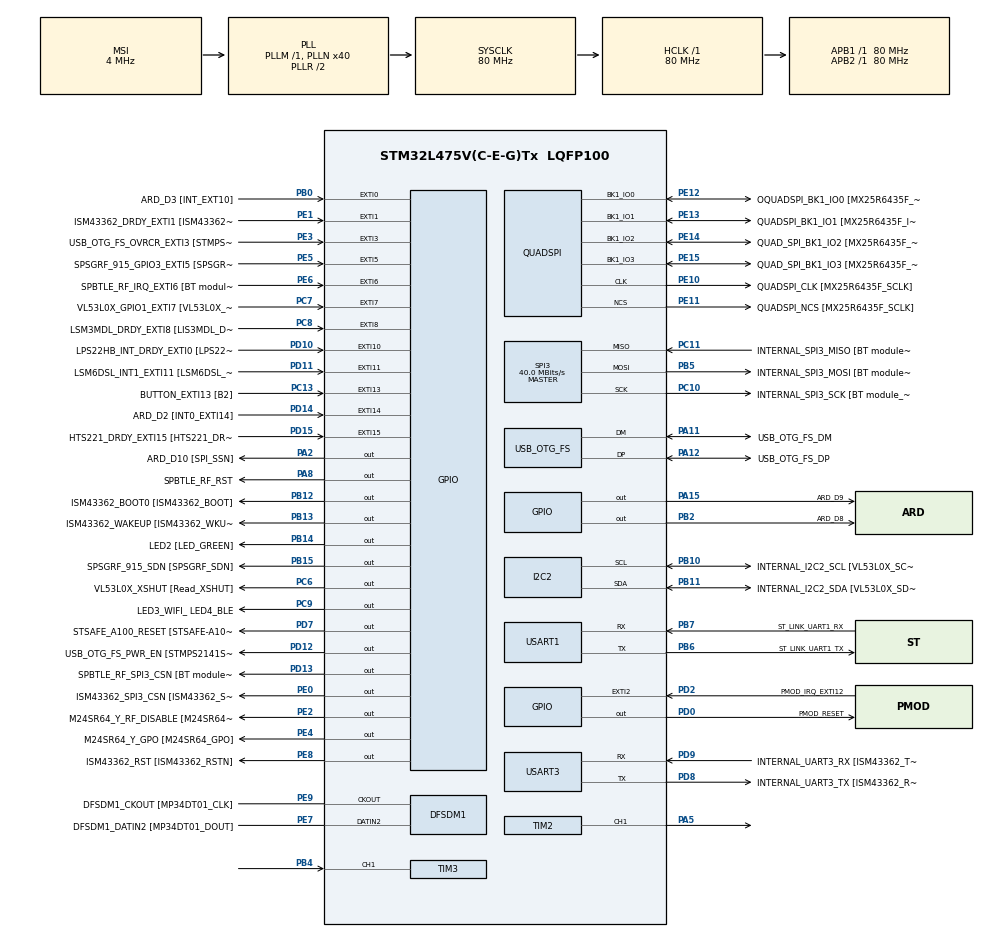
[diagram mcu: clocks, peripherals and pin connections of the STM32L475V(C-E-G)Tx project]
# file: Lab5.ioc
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I2C2.Timing=0x10D19CE4
Mcu.Family=STM32L4
Mcu.Name=STM32L475V(C-E-G)Tx
Mcu.Package=LQFP100
NVIC.EXTI15_10_IRQn=true\:0\:0\:false\:false\:true\:true\:true\:true
NVIC.EXTI9_5_IRQn=true\:0\:0\:false\:false\:true\:true\:true\:true
NVIC.PriorityGroup=NVIC_PRIORITYGROUP_4
NVIC.TIM3_IRQn=true\:0\:0\:false\:false\:true\:true\:true\:true
PA0.GPIO_Label=ARD_D1 [UART4_TX]
PA0.Signal=UART4_TX
PA1.Signal=S_TIM2_CH2
PA10.GPIO_Label=USB_OTG_FS_ID
PA10.Signal=USB_OTG_FS_ID
PA11.GPIO_Label=USB_OTG_FS_DM
PA11.Mode=Device_Only
PA11.Signal=USB_OTG_FS_DM
PA12.GPIO_Label=USB_OTG_FS_DP
PA12.Mode=Device_Only
PA12.Signal=USB_OTG_FS_DP
PA13\ (JTMS-SWDIO).GPIO_Label=SYS_JTMS_SWDIO
PA13\ (JTMS-SWDIO).Mode=Serial_Wire
PA13\ (JTMS-SWDIO).Signal=SYS_JTMS-SWDIO
PA14\ (JTCK-SWCLK).GPIO_Label=SYS_JTCK_SWCLK
PA14\ (JTCK-SWCLK).Mode=Serial_Wire
PA14\ (JTCK-SWCLK).Signal=SYS_JTCK-SWCLK
PA15\ (JTDI).GPIO_Label=ARD_D9
PA15\ (JTDI).Signal=GPIO_Output
PA2.GPIO_Label=ARD_D10 [SPI_SSN]
PA2.Signal=GPIO_Output
PA3.GPIO_Label=ARD_D4
PA3.Signal=S_TIM2_CH4
PA4.GPIO_Label=ARD_D7
PA4.Signal=ADCx_IN9
PA5.Signal=S_TIM2_CH1
PA6.GPIO_Label=ARD_D12 [SPI1_MISO]
PA6.Signal=SPI1_MISO
PA7.GPIO_Label=ARD_D11 [SPI1_MOSI]
PA7.Signal=SPI1_MOSI
PA8.GPIO_Label=SPBTLE_RF_RST
PA8.Signal=GPIO_Output
PA9.GPIO_Label=USB_OTG_FS_VBUS [STMPS2141STR_OUT]
PA9.Signal=USB_OTG_FS_VBUS
PB0.GPIO_Label=ARD_D3 [INT_EXT10]
PB0.Signal=GPXTI0
PB1.GPIO_Label=ARD_D6 [ADC1_IN6]
PB1.Signal=ADCx_IN16
PB10.GPIO_Label=INTERNAL_I2C2_SCL [VL53L0X_SCL]
PB10.GPIO_Pu=GPIO_PULLUP
PB10.Mode=I2C
PB10.Signal=I2C2_SCL
PB11.GPIO_Label=INTERNAL_I2C2_SDA [VL53L0X_SDA]
PB11.GPIO_Pu=GPIO_PULLUP
PB11.Mode=I2C
PB11.Signal=I2C2_SDA
PB12.GPIO_Label=ISM43362_BOOT0 [ISM43362_BOOT]
PB12.Signal=GPIO_Output
PB13.GPIO_Label=ISM43362_WAKEUP [ISM43362_WKUP]
PB13.Signal=GPIO_Output
PB14.GPIO_Label=LED2 [LED_GREEN]
PB14.Signal=GPIO_Output
PB15.GPIO_Label=SPSGRF_915_SDN [SPSGRF_SDN]
PB15.Signal=GPIO_Output
PB2.GPIO_Label=ARD_D8
PB2.Signal=GPIO_Output
PB3\ (JTDO-TRACESWO).GPIO_Label=SYS_JTD0_SWO
PB3\ (JTDO-TRACESWO).Signal=SYS_JTDO-SWO
PB4\ (NJTRST).Signal=S_TIM3_CH1
PB5.GPIO_Label=INTERNAL_SPI3_MOSI [BT module_SPI_MOSI] [ISM43362_MOSI]
PB5.Mode=Full_Duplex_Master
PB5.Signal=SPI3_MOSI
PB6.GPIO_Label=ST_LINK_UART1_TX
PB6.Mode=Asynchronous
PB6.Signal=USART1_TX
PB7.GPIO_Label=ST_LINK_UART1_RX
PB7.Mode=Asynchronous
PB7.Signal=USART1_RX
PB8.GPIO_Label=ARD_D15 [I2C1_SCL]
PB8.Signal=I2C1_SCL
PB9.GPIO_Label=ARD_D14 [I2C1_SDA]
PB9.Signal=I2C1_SDA
PC0.GPIO_Label=ARD_A5 [ADC]
PC0.Signal=ADCx_IN1
PC1.GPIO_Label=ARD_A4 [ADC]
PC1.Signal=ADCx_IN2
PC10.GPIO_Label=INTERNAL_SPI3_SCK [BT module_SPI_SCLK] [ISM43362_SCK]
PC10.Mode=Full_Duplex_Master
PC10.Signal=SPI3_SCK
PC11.GPIO_Label=INTERNAL_SPI3_MISO [BT module_SPI_MISO] [ISM43362_MISO]
PC11.Mode=Full_Duplex_Master
PC11.Signal=SPI3_MISO
PC13.GPIO_Label=BUTTON_EXTI13 [B2]
PC13.GPIO_ModeDefaultEXTI=GPIO_MODE_IT_FALLING
PC13.Signal=GPXTI13
PC14-OSC32_IN\ (PC14).Mode=LSE-External-Oscillator
PC14-OSC32_IN\ (PC14).Signal=RCC_OSC32_IN
PC15-OSC32_OUT\ (PC15).Mode=LSE-External-Oscillator
PC15-OSC32_OUT\ (PC15).Signal=RCC_OSC32_OUT
PC2.GPIO_Label=ARD_A3 [ADC]
PC2.Signal=ADCx_IN3
PC3.GPIO_Label=ARD_A2 [ADC]
PC3.Signal=ADCx_IN4
PC4.GPIO_Label=ARD_A1 [ADC]
PC4.Signal=ADCx_IN13
PC5.GPIO_Label=ARD_A0 [ADC]
PC5.Signal=ADCx_IN14
PC6.GPIO_Label=VL53L0X_XSHUT [Read_XSHUT]
PC6.Signal=GPIO_Output
PC7.GPIO_Label=VL53L0X_GPIO1_EXTI7 [VL53L0X_GPIO1]
PC7.Signal=GPXTI7
PC8.GPIO_Label=LSM3MDL_DRDY_EXTI8 [LIS3MDL_DRDY]
PC8.Signal=GPXTI8
PC9.GPIO_Label=LED3_WIFI_ LED4_BLE
PC9.Signal=GPIO_Output
PD0.GPIO_Label=PMOD_RESET
PD0.Signal=GPIO_Output
PD1.GPIO_Label=PMOD_SPI2_SCK
PD1.Signal=SPI2_SCK
PD10.GPIO_Label=LPS22HB_INT_DRDY_EXTI0 [LPS22HB_INT_DRDY] 
PD10.Signal=GPXTI10
PD11.GPIO_Label=LSM6DSL_INT1_EXTI11 [LSM6DSL_INT1]
PD11.Signal=GPXTI11
PD12.GPIO_Label=USB_OTG_FS_PWR_EN [STMPS2141STR_EN]
PD12.Signal=GPIO_Output
PD13.GPIO_Label=SPBTLE_RF_SPI3_CSN [BT module_SPI_CS]
PD13.PinState=GPIO_PIN_SET
PD13.Signal=GPIO_Output
PD14.GPIO_Label=ARD_D2 [INT0_EXTI14]
PD14.Signal=GPXTI14
PD15.GPIO_Label=HTS221_DRDY_EXTI15 [HTS221_DRDY]
PD15.Signal=GPXTI15
PD2.GPIO_Label=PMOD_IRQ_EXTI12
PD2.Signal=GPXTI2
PD3.GPIO_Label=PMOD_UART2_CTS
PD3.Signal=USART2_CTS
PD4.GPIO_Label=PMOD_UART2_RTS
PD4.Signal=USART2_RTS
PD5.GPIO_Label=PMOD_UART2_TX
PD5.Signal=USART2_TX
PD6.GPIO_Label=PMOD_UART2_RX
PD6.Signal=USART2_RX
PD7.GPIO_Label=STSAFE_A100_RESET [STSAFE-A100_RESET]
PD7.Signal=GPIO_Output
PD8.GPIO_Label=INTERNAL_UART3_TX [ISM43362_RX]
PD8.Mode=Asynchronous
PD8.Signal=USART3_TX
PD9.GPIO_Label=INTERNAL_UART3_RX [ISM43362_TX]
PD9.Mode=Asynchronous
PD9.Signal=USART3_RX
PE0.GPIO_Label=ISM43362_SPI3_CSN [ISM43362_SSN]
PE0.PinState=GPIO_PIN_SET
PE0.Signal=GPIO_Output
PE1.GPIO_Label=ISM43362_DRDY_EXTI1 [ISM43362_DATARDY]
PE1.Signal=GPXTI1
PE10.GPIO_Label=QUADSPI_CLK [MX25R6435F_SCLK]
PE10.Mode=Single Bank
PE10.Signal=QUADSPI_CLK
PE11.GPIO_Label=QUADSPI_NCS [MX25R6435F_SCLK]
PE11.Mode=Single Bank
PE11.Signal=QUADSPI_NCS
PE12.GPIO_Label=OQUADSPI_BK1_IO0 [MX25R6435F_IO0]
PE12.Mode=Single Bank
PE12.Signal=QUADSPI_BK1_IO0
PE13.GPIO_Label=QUADSPI_BK1_IO1 [MX25R6435F_IO1]
PE13.Mode=Single Bank
PE13.Signal=QUADSPI_BK1_IO1
PE14.GPIO_Label=QUAD_SPI_BK1_IO2 [MX25R6435F_IO2]
PE14.Mode=Single Bank
PE14.Signal=QUADSPI_BK1_IO2
PE15.GPIO_Label=QUAD_SPI_BK1_IO3 [MX25R6435F_IO3]
PE15.Mode=Single Bank
PE15.Signal=QUADSPI_BK1_IO3
PE2.GPIO_Label=M24SR64_Y_RF_DISABLE [M24SR64_RFDIS]
PE2.Signal=GPIO_Output
PE3.GPIO_Label=USB_OTG_FS_OVRCR_EXTI3 [STMPS2141STR_FAULT]
PE3.Signal=GPXTI3
PE4.GPIO_Label=M24SR64_Y_GPO [M24SR64_GPO]
PE4.Signal=GPIO_Output
PE5.GPIO_Label=SPSGRF_915_GPIO3_EXTI5 [SPSGRF_GPIO_3]
PE5.Signal=GPXTI5
PE6.GPIO_Label=SPBTLE_RF_IRQ_EXTI6 [BT module_SPI_IRQ]
PE6.Signal=GPXTI6
PE7.GPIO_Label=DFSDM1_DATIN2 [MP34DT01_DOUT]
PE7.Signal=S_DATAIN2DFSDM1
PE8.GPIO_Label=ISM43362_RST [ISM43362_RSTN]
PE8.Signal=GPIO_Output
PE9.GPIO_Label=DFSDM1_CKOUT [MP34DT01_CLK]
PE9.Signal=S_CKOUTDFSDM1
ProjectManager.HeapSize=0x200
ProjectManager.StackSize=0x400
ProjectManager.TargetToolchain=CMake
QUADSPI.ClockPrescaler=2
QUADSPI.FifoThreshold=4
QUADSPI.FlashSize=23
QUADSPI.SampleShifting=QSPI_SAMPLE_SHIFTING_HALFCYCLE
RCC.ADCFreq_Value=48000000
RCC.AHBFreq_Value=80000000
RCC.APB1Freq_Value=80000000
RCC.APB1TimFreq_Value=80000000
RCC.APB2Freq_Value=80000000
RCC.APB2TimFreq_Value=80000000
RCC.CortexFreq_Value=80000000
RCC.HCLKFreq_Value=80000000
RCC.HSE_VALUE=8000000
RCC.HSI_VALUE=16000000
RCC.MSI_VALUE=4000000
RCC.PLLN=40
RCC.PLLSAI1N=24
RCC.SYSCLKFreq_VALUE=80000000
RCC.SYSCLKSource=RCC_SYSCLKSOURCE_PLLCLK
RCC.USBFreq_Value=48000000
RCC.VCOOutputFreq_Value=160000000
SH.ADCx_IN1.0=ADC1_IN1
SH.ADCx_IN13.0=ADC1_IN13
SH.ADCx_IN14.0=ADC1_IN14
SH.ADCx_IN16.0=ADC1_IN16
SH.ADCx_IN2.0=ADC1_IN2
SH.ADCx_IN3.0=ADC1_IN3
SH.ADCx_IN4.0=ADC1_IN4
SH.ADCx_IN9.0=ADC1_IN9
SH.S_CKOUTDFSDM1.0=DFSDM1_CKOUT,CKOUT
SH.S_CKOUTDFSDM1.1=DFSDM1_CKOUT,PDM_SPI_Input_from_ch12_and_Internal_Clock
SH.S_DATAIN2DFSDM1.0=DFSDM1_DATIN2,PDM_SPI_Input_from_ch12_and_Internal_Clock
SH.S_TIM2_CH1.0=TIM2_CH1,PWM Generation1 CH1
SH.S_TIM2_CH2.0=TIM2_CH2
SH.S_TIM2_CH4.0=TIM2_CH4
SH.S_TIM3_CH1.0=TIM3_CH1,Input_Capture1_from_TI1
SPI3.CalculateBaudRate=40.0 MBits/s
SPI3.Direction=SPI_DIRECTION_2LINES
SPI3.Mode=SPI_MODE_MASTER
SPI3.VirtualType=VM_MASTER
TIM2.Channel-PWM\ Generation1\ CH1=TIM_CHANNEL_1
TIM2.Period=999
TIM2.Prescaler=79
TIM2.Pulse-PWM\ Generation1\ CH1=500
TIM2.TIM_MasterSlaveMode=TIM_MASTERSLAVEMODE_DISABLE
TIM3.Channel-Input_Capture1_from_TI1=TIM_CHANNEL_1
TIM3.Channel-Input_Capture2_from_TI1_63=TIM_CHANNEL_2
TIM3.ICPolarity_CH2=TIM_INPUTCHANNELPOLARITY_FALLING
TIM3.Period=999
TIM3.Prescaler=79
USART1.VirtualMode-Asynchronous=VM_ASYNC
USART3.VirtualMode-Asynchronous=VM_ASYNC
USB_OTG_FS.VirtualMode=Device_Only
VP_TIM2_VS_ClockSourceINT.Mode=Internal
VP_TIM3_VS_ClockSourceINT.Mode=Internal
VP_TIM3_VS_indirect_ch1.Mode=Input_Capture2_from_TI1_63
board=B-L475E-IOT01A2

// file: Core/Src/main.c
/* USER CODE BEGIN Header */
/**
  ******************************************************************************
  * @file           : main.c
  * @brief          : Main program body
  ******************************************************************************
  * @attention
  *
  * Copyright (c) 2026 STMicroelectronics.
  * All rights reserved.
  *
  * This software is licensed under terms that can be found in the LICENSE file
  * in the root directory of this software component.
  * If no LICENSE file comes with this software, it is provided AS-IS.
  *
  ******************************************************************************
  */
/* USER CODE END Header */
#include "main.h"

/* USER CODE BEGIN Includes */
#include <stdio.h>

/* USER CODE END Includes */

DFSDM_Channel_HandleTypeDef hdfsdm1_channel1;

I2C_HandleTypeDef hi2c2;

QSPI_HandleTypeDef hqspi;

SPI_HandleTypeDef hspi3;

TIM_HandleTypeDef htim2;
TIM_HandleTypeDef htim3;

UART_HandleTypeDef huart1;
UART_HandleTypeDef huart3;

PCD_HandleTypeDef hpcd_USB_OTG_FS;

/* USER CODE BEGIN PV */
int __io_putchar(int ch)
{
    // &huart4 是根據你在 IOC 設定的 UART 編號，B-L475E 預設為 UART4
    HAL_UART_Transmit(&huart1, (uint8_t *)&ch, 1, HAL_MAX_DELAY);
    return ch;
}
volatile uint32_t raw_period = 0;
volatile uint32_t raw_duty = 0;
volatile uint8_t data_ready = 0;
/* USER CODE END PV */

void SystemClock_Config(void);
static void MX_GPIO_Init(void);
static void MX_DFSDM1_Init(void);
static void MX_I2C2_Init(void);
static void MX_QUADSPI_Init(void);
static void MX_SPI3_Init(void);
static void MX_USART1_UART_Init(void);
static void MX_USART3_UART_Init(void);
static void MX_USB_OTG_FS_PCD_Init(void);
static void MX_TIM2_Init(void);
static void MX_TIM3_Init(void);

int main(void)
{

  /* MCU Configuration--------------------------------------------------------*/

  /* Reset of all peripherals, Initializes the Flash interface and the Systick. */
  HAL_Init();

  /* Configure the system clock */
  SystemClock_Config();

  /* Initialize all configured peripherals */
  MX_GPIO_Init();
  MX_DFSDM1_Init();
  MX_I2C2_Init();
  MX_QUADSPI_Init();
  MX_SPI3_Init();
  MX_USART1_UART_Init();
  MX_USART3_UART_Init();
  MX_USB_OTG_FS_PCD_Init();
  MX_TIM2_Init();
  MX_TIM3_Init();
  /* USER CODE BEGIN 2 */
  HAL_TIM_PWM_Start(&htim2, TIM_CHANNEL_1);
  HAL_TIM_IC_Start_IT(&htim3, TIM_CHANNEL_1);
  HAL_TIM_IC_Start_IT(&htim3, TIM_CHANNEL_2);
  /* USER CODE END 2 */

  /* Infinite loop */
  while (1)
  {
    if (data_ready)
    {
        data_ready = 0; // 清除標記

        // 取得快照，避免計算中途被中斷打斷
        uint32_t p = raw_period;
        uint32_t d = raw_duty;

        if (p > 0)
        {
            // 假定 TIM3 PSC = 79, Timer Clock = 80MHz -> 計數頻率 = 1MHz
            uint32_t freq = 1000000 / p;

            printf("Period: %lu Hz, Duty: %lu\r\n", p, d);
        }
    }

    // 每一秒印一次就好，不會卡死系統
    HAL_Delay(1000);
  }
}

void SystemClock_Config(void)
{
  RCC_OscInitTypeDef RCC_OscInitStruct = {0};
  RCC_ClkInitTypeDef RCC_ClkInitStruct = {0};

  /** Configure the main internal regulator output voltage
  */
  if (HAL_PWREx_ControlVoltageScaling(PWR_REGULATOR_VOLTAGE_SCALE1) != HAL_OK)
  {
    Error_Handler();
  }

  /** Configure LSE Drive Capability
  */
  HAL_PWR_EnableBkUpAccess();
  __HAL_RCC_LSEDRIVE_CONFIG(RCC_LSEDRIVE_LOW);

  /** Initializes the RCC Oscillators according to the specified parameters
  * in the RCC_OscInitTypeDef structure.
  */
  RCC_OscInitStruct.OscillatorType = RCC_OSCILLATORTYPE_LSE|RCC_OSCILLATORTYPE_MSI;
  RCC_OscInitStruct.LSEState = RCC_LSE_ON;
  RCC_OscInitStruct.MSIState = RCC_MSI_ON;
  RCC_OscInitStruct.MSICalibrationValue = 0;
  RCC_OscInitStruct.MSIClockRange = RCC_MSIRANGE_6;
  RCC_OscInitStruct.PLL.PLLState = RCC_PLL_ON;
  RCC_OscInitStruct.PLL.PLLSource = RCC_PLLSOURCE_MSI;
  RCC_OscInitStruct.PLL.PLLM = 1;
  RCC_OscInitStruct.PLL.PLLN = 40;
  RCC_OscInitStruct.PLL.PLLP = RCC_PLLP_DIV7;
  RCC_OscInitStruct.PLL.PLLQ = RCC_PLLQ_DIV2;
  RCC_OscInitStruct.PLL.PLLR = RCC_PLLR_DIV2;
  if (HAL_RCC_OscConfig(&RCC_OscInitStruct) != HAL_OK)
  {
    Error_Handler();
  }

  /** Initializes the CPU, AHB and APB buses clocks
  */
  RCC_ClkInitStruct.ClockType = RCC_CLOCKTYPE_HCLK|RCC_CLOCKTYPE_SYSCLK
                              |RCC_CLOCKTYPE_PCLK1|RCC_CLOCKTYPE_PCLK2;
  RCC_ClkInitStruct.SYSCLKSource = RCC_SYSCLKSOURCE_PLLCLK;
  RCC_ClkInitStruct.AHBCLKDivider = RCC_SYSCLK_DIV1;
  RCC_ClkInitStruct.APB1CLKDivider = RCC_HCLK_DIV1;
  RCC_ClkInitStruct.APB2CLKDivider = RCC_HCLK_DIV1;

  if (HAL_RCC_ClockConfig(&RCC_ClkInitStruct, FLASH_LATENCY_4) != HAL_OK)
  {
    Error_Handler();
  }

  /** Enable MSI Auto calibration
  */
  HAL_RCCEx_EnableMSIPLLMode();
}

static void MX_DFSDM1_Init(void)
{

  hdfsdm1_channel1.Instance = DFSDM1_Channel1;
  hdfsdm1_channel1.Init.OutputClock.Activation = ENABLE;
  hdfsdm1_channel1.Init.OutputClock.Selection = DFSDM_CHANNEL_OUTPUT_CLOCK_SYSTEM;
  hdfsdm1_channel1.Init.OutputClock.Divider = 2;
  hdfsdm1_channel1.Init.Input.Multiplexer = DFSDM_CHANNEL_EXTERNAL_INPUTS;
  hdfsdm1_channel1.Init.Input.DataPacking = DFSDM_CHANNEL_STANDARD_MODE;
  hdfsdm1_channel1.Init.Input.Pins = DFSDM_CHANNEL_FOLLOWING_CHANNEL_PINS;
  hdfsdm1_channel1.Init.SerialInterface.Type = DFSDM_CHANNEL_SPI_RISING;
  hdfsdm1_channel1.Init.SerialInterface.SpiClock = DFSDM_CHANNEL_SPI_CLOCK_INTERNAL;
  hdfsdm1_channel1.Init.Awd.FilterOrder = DFSDM_CHANNEL_FASTSINC_ORDER;
  hdfsdm1_channel1.Init.Awd.Oversampling = 1;
  hdfsdm1_channel1.Init.Offset = 0;
  hdfsdm1_channel1.Init.RightBitShift = 0x00;
  if (HAL_DFSDM_ChannelInit(&hdfsdm1_channel1) != HAL_OK)
  {
    Error_Handler();
  }

}

static void MX_I2C2_Init(void)
{

  hi2c2.Instance = I2C2;
  hi2c2.Init.Timing = 0x10D19CE4;
  hi2c2.Init.OwnAddress1 = 0;
  hi2c2.Init.AddressingMode = I2C_ADDRESSINGMODE_7BIT;
  hi2c2.Init.DualAddressMode = I2C_DUALADDRESS_DISABLE;
  hi2c2.Init.OwnAddress2 = 0;
  hi2c2.Init.OwnAddress2Masks = I2C_OA2_NOMASK;
  hi2c2.Init.GeneralCallMode = I2C_GENERALCALL_DISABLE;
  hi2c2.Init.NoStretchMode = I2C_NOSTRETCH_DISABLE;
  if (HAL_I2C_Init(&hi2c2) != HAL_OK)
  {
    Error_Handler();
  }

  /** Configure Analogue filter
  */
  if (HAL_I2CEx_ConfigAnalogFilter(&hi2c2, I2C_ANALOGFILTER_ENABLE) != HAL_OK)
  {
    Error_Handler();
  }

  /** Configure Digital filter
  */
  if (HAL_I2CEx_ConfigDigitalFilter(&hi2c2, 0) != HAL_OK)
  {
    Error_Handler();
  }

}

static void MX_QUADSPI_Init(void)
{

  /* QUADSPI parameter configuration*/
  hqspi.Instance = QUADSPI;
  hqspi.Init.ClockPrescaler = 2;
  hqspi.Init.FifoThreshold = 4;
  hqspi.Init.SampleShifting = QSPI_SAMPLE_SHIFTING_HALFCYCLE;
  hqspi.Init.FlashSize = 23;
  hqspi.Init.ChipSelectHighTime = QSPI_CS_HIGH_TIME_1_CYCLE;
  hqspi.Init.ClockMode = QSPI_CLOCK_MODE_0;
  if (HAL_QSPI_Init(&hqspi) != HAL_OK)
  {
    Error_Handler();
  }

}

static void MX_SPI3_Init(void)
{

  /* SPI3 parameter configuration*/
  hspi3.Instance = SPI3;
  hspi3.Init.Mode = SPI_MODE_MASTER;
  hspi3.Init.Direction = SPI_DIRECTION_2LINES;
  hspi3.Init.DataSize = SPI_DATASIZE_4BIT;
  hspi3.Init.CLKPolarity = SPI_POLARITY_LOW;
  hspi3.Init.CLKPhase = SPI_PHASE_1EDGE;
  hspi3.Init.NSS = SPI_NSS_SOFT;
  hspi3.Init.BaudRatePrescaler = SPI_BAUDRATEPRESCALER_2;
  hspi3.Init.FirstBit = SPI_FIRSTBIT_MSB;
  hspi3.Init.TIMode = SPI_TIMODE_DISABLE;
  hspi3.Init.CRCCalculation = SPI_CRCCALCULATION_DISABLE;
  hspi3.Init.CRCPolynomial = 7;
  hspi3.Init.CRCLength = SPI_CRC_LENGTH_DATASIZE;
  hspi3.Init.NSSPMode = SPI_NSS_PULSE_ENABLE;
  if (HAL_SPI_Init(&hspi3) != HAL_OK)
  {
    Error_Handler();
  }

}

static void MX_TIM2_Init(void)
{

  TIM_ClockConfigTypeDef sClockSourceConfig = {0};
  TIM_MasterConfigTypeDef sMasterConfig = {0};
  TIM_OC_InitTypeDef sConfigOC = {0};

  htim2.Instance = TIM2;
  htim2.Init.Prescaler = 79;
  htim2.Init.CounterMode = TIM_COUNTERMODE_UP;
  htim2.Init.Period = 999;
  htim2.Init.ClockDivision = TIM_CLOCKDIVISION_DIV1;
  htim2.Init.AutoReloadPreload = TIM_AUTORELOAD_PRELOAD_DISABLE;
  if (HAL_TIM_Base_Init(&htim2) != HAL_OK)
  {
    Error_Handler();
  }
  sClockSourceConfig.ClockSource = TIM_CLOCKSOURCE_INTERNAL;
  if (HAL_TIM_ConfigClockSource(&htim2, &sClockSourceConfig) != HAL_OK)
  {
    Error_Handler();
  }
  if (HAL_TIM_PWM_Init(&htim2) != HAL_OK)
  {
    Error_Handler();
  }
  sMasterConfig.MasterOutputTrigger = TIM_TRGO_RESET;
  sMasterConfig.MasterSlaveMode = TIM_MASTERSLAVEMODE_DISABLE;
  if (HAL_TIMEx_MasterConfigSynchronization(&htim2, &sMasterConfig) != HAL_OK)
  {
    Error_Handler();
  }
  sConfigOC.OCMode = TIM_OCMODE_PWM1;
  sConfigOC.Pulse = 500;
  sConfigOC.OCPolarity = TIM_OCPOLARITY_HIGH;
  sConfigOC.OCFastMode = TIM_OCFAST_DISABLE;
  if (HAL_TIM_PWM_ConfigChannel(&htim2, &sConfigOC, TIM_CHANNEL_1) != HAL_OK)
  {
    Error_Handler();
  }
  HAL_TIM_MspPostInit(&htim2);

}

static void MX_TIM3_Init(void)
{

  TIM_ClockConfigTypeDef sClockSourceConfig = {0};
  TIM_MasterConfigTypeDef sMasterConfig = {0};
  TIM_IC_InitTypeDef sConfigIC = {0};

  htim3.Instance = TIM3;
  htim3.Init.Prescaler = 79;
  htim3.Init.CounterMode = TIM_COUNTERMODE_UP;
  htim3.Init.Period = 999;
  htim3.Init.ClockDivision = TIM_CLOCKDIVISION_DIV1;
  htim3.Init.AutoReloadPreload = TIM_AUTORELOAD_PRELOAD_DISABLE;
  if (HAL_TIM_Base_Init(&htim3) != HAL_OK)
  {
    Error_Handler();
  }
  sClockSourceConfig.ClockSource = TIM_CLOCKSOURCE_INTERNAL;
  if (HAL_TIM_ConfigClockSource(&htim3, &sClockSourceConfig) != HAL_OK)
  {
    Error_Handler();
  }
  if (HAL_TIM_IC_Init(&htim3) != HAL_OK)
  {
    Error_Handler();
  }
  sMasterConfig.MasterOutputTrigger = TIM_TRGO_RESET;
  sMasterConfig.MasterSlaveMode = TIM_MASTERSLAVEMODE_DISABLE;
  if (HAL_TIMEx_MasterConfigSynchronization(&htim3, &sMasterConfig) != HAL_OK)
  {
    Error_Handler();
  }
  sConfigIC.ICPolarity = TIM_INPUTCHANNELPOLARITY_RISING;
  sConfigIC.ICSelection = TIM_ICSELECTION_DIRECTTI;
  sConfigIC.ICPrescaler = TIM_ICPSC_DIV1;
  sConfigIC.ICFilter = 0;
  if (HAL_TIM_IC_ConfigChannel(&htim3, &sConfigIC, TIM_CHANNEL_1) != HAL_OK)
  {
    Error_Handler();
  }
  sConfigIC.ICPolarity = TIM_INPUTCHANNELPOLARITY_FALLING;
  sConfigIC.ICSelection = TIM_ICSELECTION_INDIRECTTI;
  if (HAL_TIM_IC_ConfigChannel(&htim3, &sConfigIC, TIM_CHANNEL_2) != HAL_OK)
  {
    Error_Handler();
  }

}

static void MX_USART1_UART_Init(void)
{

  huart1.Instance = USART1;
  huart1.Init.BaudRate = 115200;
  huart1.Init.WordLength = UART_WORDLENGTH_8B;
  huart1.Init.StopBits = UART_STOPBITS_1;
  huart1.Init.Parity = UART_PARITY_NONE;
  huart1.Init.Mode = UART_MODE_TX_RX;
  huart1.Init.HwFlowCtl = UART_HWCONTROL_NONE;
  huart1.Init.OverSampling = UART_OVERSAMPLING_16;
  huart1.Init.OneBitSampling = UART_ONE_BIT_SAMPLE_DISABLE;
  huart1.AdvancedInit.AdvFeatureInit = UART_ADVFEATURE_NO_INIT;
  if (HAL_UART_Init(&huart1) != HAL_OK)
  {
    Error_Handler();
  }

}

static void MX_USART3_UART_Init(void)
{

  huart3.Instance = USART3;
  huart3.Init.BaudRate = 115200;
  huart3.Init.WordLength = UART_WORDLENGTH_8B;
  huart3.Init.StopBits = UART_STOPBITS_1;
  huart3.Init.Parity = UART_PARITY_NONE;
  huart3.Init.Mode = UART_MODE_TX_RX;
  huart3.Init.HwFlowCtl = UART_HWCONTROL_NONE;
  huart3.Init.OverSampling = UART_OVERSAMPLING_16;
  huart3.Init.OneBitSampling = UART_ONE_BIT_SAMPLE_DISABLE;
  huart3.AdvancedInit.AdvFeatureInit = UART_ADVFEATURE_NO_INIT;
  if (HAL_UART_Init(&huart3) != HAL_OK)
  {
    Error_Handler();
  }

}

static void MX_USB_OTG_FS_PCD_Init(void)
{

  hpcd_USB_OTG_FS.Instance = USB_OTG_FS;
  hpcd_USB_OTG_FS.Init.dev_endpoints = 6;
  hpcd_USB_OTG_FS.Init.speed = PCD_SPEED_FULL;
  hpcd_USB_OTG_FS.Init.phy_itface = PCD_PHY_EMBEDDED;
  hpcd_USB_OTG_FS.Init.Sof_enable = DISABLE;
  hpcd_USB_OTG_FS.Init.low_power_enable = DISABLE;
  hpcd_USB_OTG_FS.Init.lpm_enable = DISABLE;
  hpcd_USB_OTG_FS.Init.battery_charging_enable = DISABLE;
  hpcd_USB_OTG_FS.Init.use_dedicated_ep1 = DISABLE;
  hpcd_USB_OTG_FS.Init.vbus_sensing_enable = DISABLE;
  if (HAL_PCD_Init(&hpcd_USB_OTG_FS) != HAL_OK)
  {
    Error_Handler();
  }

}

static void MX_GPIO_Init(void)
{
  GPIO_InitTypeDef GPIO_InitStruct = {0};

  /* GPIO Ports Clock Enable */
  __HAL_RCC_GPIOE_CLK_ENABLE();
  __HAL_RCC_GPIOC_CLK_ENABLE();
  __HAL_RCC_GPIOA_CLK_ENABLE();
  __HAL_RCC_GPIOB_CLK_ENABLE();
  __HAL_RCC_GPIOD_CLK_ENABLE();

  /*Configure GPIO pin Output Level */
  HAL_GPIO_WritePin(GPIOE, M24SR64_Y_RF_DISABLE_Pin|M24SR64_Y_GPO_Pin|ISM43362_RST_Pin, GPIO_PIN_RESET);

  /*Configure GPIO pin Output Level */
  HAL_GPIO_WritePin(GPIOA, ARD_D10_Pin|SPBTLE_RF_RST_Pin|ARD_D9_Pin, GPIO_PIN_RESET);

  /*Configure GPIO pin Output Level */
  HAL_GPIO_WritePin(GPIOB, ARD_D8_Pin|ISM43362_BOOT0_Pin|ISM43362_WAKEUP_Pin|LED2_Pin
                          |SPSGRF_915_SDN_Pin, GPIO_PIN_RESET);

  /*Configure GPIO pin Output Level */
  HAL_GPIO_WritePin(GPIOD, USB_OTG_FS_PWR_EN_Pin|PMOD_RESET_Pin|STSAFE_A100_RESET_Pin, GPIO_PIN_RESET);

  /*Configure GPIO pin Output Level */
  HAL_GPIO_WritePin(SPBTLE_RF_SPI3_CSN_GPIO_Port, SPBTLE_RF_SPI3_CSN_Pin, GPIO_PIN_SET);

  /*Configure GPIO pin Output Level */
  HAL_GPIO_WritePin(GPIOC, VL53L0X_XSHUT_Pin|LED3_WIFI__LED4_BLE_Pin, GPIO_PIN_RESET);

  /*Configure GPIO pin Output Level */
  HAL_GPIO_WritePin(ISM43362_SPI3_CSN_GPIO_Port, ISM43362_SPI3_CSN_Pin, GPIO_PIN_SET);

  /*Configure GPIO pins : M24SR64_Y_RF_DISABLE_Pin M24SR64_Y_GPO_Pin ISM43362_RST_Pin ISM43362_SPI3_CSN_Pin */
  GPIO_InitStruct.Pin = M24SR64_Y_RF_DISABLE_Pin|M24SR64_Y_GPO_Pin|ISM43362_RST_Pin|ISM43362_SPI3_CSN_Pin;
  GPIO_InitStruct.Mode = GPIO_MODE_OUTPUT_PP;
  GPIO_InitStruct.Pull = GPIO_NOPULL;
  GPIO_InitStruct.Speed = GPIO_SPEED_FREQ_LOW;
  HAL_GPIO_Init(GPIOE, &GPIO_InitStruct);

  /*Configure GPIO pins : USB_OTG_FS_OVRCR_EXTI3_Pin SPSGRF_915_GPIO3_EXTI5_Pin SPBTLE_RF_IRQ_EXTI6_Pin ISM43362_DRDY_EXTI1_Pin */
  GPIO_InitStruct.Pin = USB_OTG_FS_OVRCR_EXTI3_Pin|SPSGRF_915_GPIO3_EXTI5_Pin|SPBTLE_RF_IRQ_EXTI6_Pin|ISM43362_DRDY_EXTI1_Pin;
  GPIO_InitStruct.Mode = GPIO_MODE_IT_RISING;
  GPIO_InitStruct.Pull = GPIO_NOPULL;
  HAL_GPIO_Init(GPIOE, &GPIO_InitStruct);

  /*Configure GPIO pin : BUTTON_EXTI13_Pin */
  GPIO_InitStruct.Pin = BUTTON_EXTI13_Pin;
  GPIO_InitStruct.Mode = GPIO_MODE_IT_FALLING;
  GPIO_InitStruct.Pull = GPIO_NOPULL;
  HAL_GPIO_Init(BUTTON_EXTI13_GPIO_Port, &GPIO_InitStruct);

  /*Configure GPIO pins : ARD_A5_Pin ARD_A4_Pin ARD_A3_Pin ARD_A2_Pin
                           ARD_A1_Pin ARD_A0_Pin */
  GPIO_InitStruct.Pin = ARD_A5_Pin|ARD_A4_Pin|ARD_A3_Pin|ARD_A2_Pin
                          |ARD_A1_Pin|ARD_A0_Pin;
  GPIO_InitStruct.Mode = GPIO_MODE_ANALOG_ADC_CONTROL;
  GPIO_InitStruct.Pull = GPIO_NOPULL;
  HAL_GPIO_Init(GPIOC, &GPIO_InitStruct);

  /*Configure GPIO pin : ARD_D1_Pin */
  GPIO_InitStruct.Pin = ARD_D1_Pin;
  GPIO_InitStruct.Mode = GPIO_MODE_AF_PP;
  GPIO_InitStruct.Pull = GPIO_NOPULL;
  GPIO_InitStruct.Speed = GPIO_SPEED_FREQ_VERY_HIGH;
  GPIO_InitStruct.Alternate = GPIO_AF8_UART4;
  HAL_GPIO_Init(ARD_D1_GPIO_Port, &GPIO_InitStruct);

  /*Configure GPIO pins : ARD_D10_Pin SPBTLE_RF_RST_Pin ARD_D9_Pin */
  GPIO_InitStruct.Pin = ARD_D10_Pin|SPBTLE_RF_RST_Pin|ARD_D9_Pin;
  GPIO_InitStruct.Mode = GPIO_MODE_OUTPUT_PP;
  GPIO_InitStruct.Pull = GPIO_NOPULL;
  GPIO_InitStruct.Speed = GPIO_SPEED_FREQ_LOW;
  HAL_GPIO_Init(GPIOA, &GPIO_InitStruct);

  /*Configure GPIO pin : ARD_D7_Pin */
  GPIO_InitStruct.Pin = ARD_D7_Pin;
  GPIO_InitStruct.Mode = GPIO_MODE_ANALOG_ADC_CONTROL;
  GPIO_InitStruct.Pull = GPIO_NOPULL;
  HAL_GPIO_Init(ARD_D7_GPIO_Port, &GPIO_InitStruct);

  /*Configure GPIO pins : ARD_D12_Pin ARD_D11_Pin */
  GPIO_InitStruct.Pin = ARD_D12_Pin|ARD_D11_Pin;
  GPIO_InitStruct.Mode = GPIO_MODE_AF_PP;
  GPIO_InitStruct.Pull = GPIO_NOPULL;
  GPIO_InitStruct.Speed = GPIO_SPEED_FREQ_VERY_HIGH;
  GPIO_InitStruct.Alternate = GPIO_AF5_SPI1;
  HAL_GPIO_Init(GPIOA, &GPIO_InitStruct);

  /*Configure GPIO pin : ARD_D3_Pin */
  GPIO_InitStruct.Pin = ARD_D3_Pin;
  GPIO_InitStruct.Mode = GPIO_MODE_IT_RISING;
  GPIO_InitStruct.Pull = GPIO_NOPULL;
  HAL_GPIO_Init(ARD_D3_GPIO_Port, &GPIO_InitStruct);

  /*Configure GPIO pin : ARD_D6_Pin */
  GPIO_InitStruct.Pin = ARD_D6_Pin;
  GPIO_InitStruct.Mode = GPIO_MODE_ANALOG_ADC_CONTROL;
  GPIO_InitStruct.Pull = GPIO_NOPULL;
  HAL_GPIO_Init(ARD_D6_GPIO_Port, &GPIO_InitStruct);

  /*Configure GPIO pins : ARD_D8_Pin ISM43362_BOOT0_Pin ISM43362_WAKEUP_Pin LED2_Pin
                           SPSGRF_915_SDN_Pin */
  GPIO_InitStruct.Pin = ARD_D8_Pin|ISM43362_BOOT0_Pin|ISM43362_WAKEUP_Pin|LED2_Pin
                          |SPSGRF_915_SDN_Pin;
  GPIO_InitStruct.Mode = GPIO_MODE_OUTPUT_PP;
  GPIO_InitStruct.Pull = GPIO_NOPULL;
  GPIO_InitStruct.Speed = GPIO_SPEED_FREQ_LOW;
  HAL_GPIO_Init(GPIOB, &GPIO_InitStruct);

  /*Configure GPIO pins : LPS22HB_INT_DRDY_EXTI0_Pin LSM6DSL_INT1_EXTI11_Pin ARD_D2_Pin HTS221_DRDY_EXTI15_Pin
                           PMOD_IRQ_EXTI12_Pin */
  GPIO_InitStruct.Pin = LPS22HB_INT_DRDY_EXTI0_Pin|LSM6DSL_INT1_EXTI11_Pin|ARD_D2_Pin|HTS221_DRDY_EXTI15_Pin
                          |PMOD_IRQ_EXTI12_Pin;
  GPIO_InitStruct.Mode = GPIO_MODE_IT_RISING;
  GPIO_InitStruct.Pull = GPIO_NOPULL;
  HAL_GPIO_Init(GPIOD, &GPIO_InitStruct);

  /*Configure GPIO pins : USB_OTG_FS_PWR_EN_Pin SPBTLE_RF_SPI3_CSN_Pin PMOD_RESET_Pin STSAFE_A100_RESET_Pin */
  GPIO_InitStruct.Pin = USB_OTG_FS_PWR_EN_Pin|SPBTLE_RF_SPI3_CSN_Pin|PMOD_RESET_Pin|STSAFE_A100_RESET_Pin;
  GPIO_InitStruct.Mode = GPIO_MODE_OUTPUT_PP;
  GPIO_InitStruct.Pull = GPIO_NOPULL;
  GPIO_InitStruct.Speed = GPIO_SPEED_FREQ_LOW;
  HAL_GPIO_Init(GPIOD, &GPIO_InitStruct);

  /*Configure GPIO pins : VL53L0X_XSHUT_Pin LED3_WIFI__LED4_BLE_Pin */
  GPIO_InitStruct.Pin = VL53L0X_XSHUT_Pin|LED3_WIFI__LED4_BLE_Pin;
  GPIO_InitStruct.Mode = GPIO_MODE_OUTPUT_PP;
  GPIO_InitStruct.Pull = GPIO_NOPULL;
  GPIO_InitStruct.Speed = GPIO_SPEED_FREQ_LOW;
  HAL_GPIO_Init(GPIOC, &GPIO_InitStruct);

  /*Configure GPIO pins : VL53L0X_GPIO1_EXTI7_Pin LSM3MDL_DRDY_EXTI8_Pin */
  GPIO_InitStruct.Pin = VL53L0X_GPIO1_EXTI7_Pin|LSM3MDL_DRDY_EXTI8_Pin;
  GPIO_InitStruct.Mode = GPIO_MODE_IT_RISING;
  GPIO_InitStruct.Pull = GPIO_NOPULL;
  HAL_GPIO_Init(GPIOC, &GPIO_InitStruct);

  /*Configure GPIO pin : PMOD_SPI2_SCK_Pin */
  GPIO_InitStruct.Pin = PMOD_SPI2_SCK_Pin;
  GPIO_InitStruct.Mode = GPIO_MODE_AF_PP;
  GPIO_InitStruct.Pull = GPIO_NOPULL;
  GPIO_InitStruct.Speed = GPIO_SPEED_FREQ_VERY_HIGH;
  GPIO_InitStruct.Alternate = GPIO_AF5_SPI2;
  HAL_GPIO_Init(PMOD_SPI2_SCK_GPIO_Port, &GPIO_InitStruct);

  /*Configure GPIO pins : PMOD_UART2_CTS_Pin PMOD_UART2_RTS_Pin PMOD_UART2_TX_Pin PMOD_UART2_RX_Pin */
  GPIO_InitStruct.Pin = PMOD_UART2_CTS_Pin|PMOD_UART2_RTS_Pin|PMOD_UART2_TX_Pin|PMOD_UART2_RX_Pin;
  GPIO_InitStruct.Mode = GPIO_MODE_AF_PP;
  GPIO_InitStruct.Pull = GPIO_NOPULL;
  GPIO_InitStruct.Speed = GPIO_SPEED_FREQ_VERY_HIGH;
  GPIO_InitStruct.Alternate = GPIO_AF7_USART2;
  HAL_GPIO_Init(GPIOD, &GPIO_InitStruct);

  /*Configure GPIO pins : ARD_D15_Pin ARD_D14_Pin */
  GPIO_InitStruct.Pin = ARD_D15_Pin|ARD_D14_Pin;
  GPIO_InitStruct.Mode = GPIO_MODE_AF_OD;
  GPIO_InitStruct.Pull = GPIO_NOPULL;
  GPIO_InitStruct.Speed = GPIO_SPEED_FREQ_VERY_HIGH;
  GPIO_InitStruct.Alternate = GPIO_AF4_I2C1;
  HAL_GPIO_Init(GPIOB, &GPIO_InitStruct);

  /* EXTI interrupt init*/
  HAL_NVIC_SetPriority(EXTI9_5_IRQn, 0, 0);
  HAL_NVIC_EnableIRQ(EXTI9_5_IRQn);

  HAL_NVIC_SetPriority(EXTI15_10_IRQn, 0, 0);
  HAL_NVIC_EnableIRQ(EXTI15_10_IRQn);

}

/* USER CODE BEGIN 4 */

void HAL_TIM_IC_CaptureCallback(TIM_HandleTypeDef *htim)
{
    if (htim->Instance == TIM3)
    {
        if (htim->Channel == HAL_TIM_ACTIVE_CHANNEL_1)
        {
            // 讀取週期 (直接就是 Ticks)
            raw_period = HAL_TIM_ReadCapturedValue(htim, TIM_CHANNEL_1);
            data_ready = 1; // 標記有新資料
        }
        else if (htim->Channel == HAL_TIM_ACTIVE_CHANNEL_2)
        {
            // 讀取高電平時間 (直接就是 Ticks)
            raw_duty = HAL_TIM_ReadCapturedValue(htim, TIM_CHANNEL_2);
        }
    }
}

/* USER CODE END 4 */

void Error_Handler(void)
{
  __disable_irq();
  while (1)
  {
  }
}
